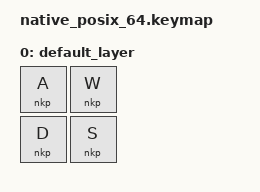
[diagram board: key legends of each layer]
#include <dt-bindings/zmk/keys.h>
#include <behaviors.dtsi>
#include <behaviors/non_overlap.dtsi>
#include <dt-bindings/zmk/kscan_mock.h>

/*
 * Queue operations should work correctly within a limited space linked list.
 *
 * This test barely validates that the linked list is implemented correctly.
 * Further work should provide a way to generate and evaluate all possible cases.
 */

&nkp {
    resume-capacity = <2>;
};

/ {
    keymap {
        compatible = "zmk,keymap";

        default_layer {
            bindings = <
                &nkp A &nkp W
                &nkp D &nkp S>;
        };
    };
};

&kscan {
    events = <
        ZMK_MOCK_PRESS(0,1,10)   // W W__      These 3 characters represent how
        ZMK_MOCK_PRESS(0,0,10)   // A WA_      the array should look like.
        ZMK_MOCK_RELEASE(0,0,10) // A W__      _ represents an empty space.
        ZMK_MOCK_PRESS(0,0,10)   // A WA_ 130  These numbers show the order of
        ZMK_MOCK_PRESS(1,1,10)   // S WAS 123  each key press.
        ZMK_MOCK_RELEASE(1,1,10) // S WA_ 130  0 means empty.
        ZMK_MOCK_PRESS(1,1,10)   // S WAS 123  1 is head. 2 is mid. 3 is tail.
        ZMK_MOCK_PRESS(1,0,10)   // D DAS 312  Limit reached. First in first out.
        ZMK_MOCK_RELEASE(1,0,10) // D _AS 013  Test release tail.
        ZMK_MOCK_PRESS(1,0,10)   // D DAS 312
        ZMK_MOCK_RELEASE(1,1,10) // S DA_ 310  Test release mid.
        ZMK_MOCK_PRESS(1,1,10)   // S DAS 213
        ZMK_MOCK_RELEASE(0,0,10) // A D_S 103  Test release head.
        ZMK_MOCK_PRESS(0,0,10)   // A DAS 132
        ZMK_MOCK_RELEASE(1,1,10) // S DA_ 130  Test release mid
        ZMK_MOCK_RELEASE(0,0,10) // A D__ 100  and then tail.
        ZMK_MOCK_PRESS(1,1,10)   // S DS_ 130
        ZMK_MOCK_PRESS(0,0,10)   // A DSA 123
        ZMK_MOCK_RELEASE(1,0,10) // D _SA 013  Test release head
        ZMK_MOCK_RELEASE(1,1,10) // S __A 001  twice.
        ZMK_MOCK_PRESS(1,1,10)   // S S_A 301
        ZMK_MOCK_PRESS(1,0,10)   // D SDA 231
        ZMK_MOCK_RELEASE(1,1,10) // S _DA 031  Test release mid
        ZMK_MOCK_RELEASE(0,0,10) // A _D_ 010  and then head.
        ZMK_MOCK_PRESS(0,0,10)   // A AD_ 310
        ZMK_MOCK_PRESS(1,1,10)   // S ADS 213
        ZMK_MOCK_RELEASE(1,0,10) // D A_S 103  Test release head
        ZMK_MOCK_RELEASE(1,1,10) // S A__ 100  and then tail.
        ZMK_MOCK_PRESS(1,1,10)   // S AS_
        ZMK_MOCK_PRESS(1,0,10)   // D ASD
        ZMK_MOCK_RELEASE(1,0,10) // D AS_      Test release all tails.
        ZMK_MOCK_RELEASE(1,1,10) // S A__
        ZMK_MOCK_RELEASE(0,0,10) // A ___
        ZMK_MOCK_RELEASE(0,1,10) // W ___
    >;
};
